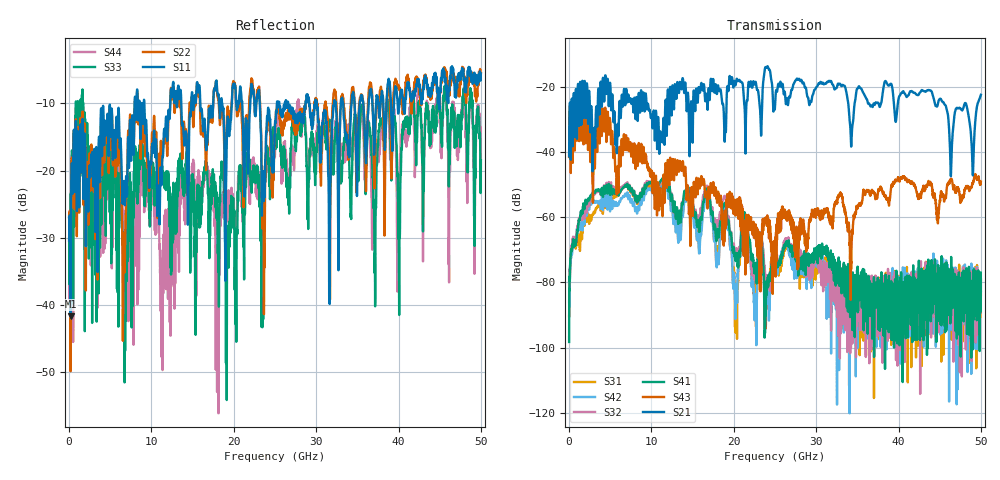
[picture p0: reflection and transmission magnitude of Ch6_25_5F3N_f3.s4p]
!Agilent Technologies,N5247A,US51170199,A.09.90.13
!Agilent N5247A: A.09.90.13
!Date: Wednesday, December 16, 2015 09:54:37
!Correction: S11(Full 4 Port(1,2,3,4))
!S12(Full 4 Port(1,2,3,4))
!S13(Full 4 Port(1,2,3,4))
!S14(Full 4 Port(1,2,3,4))
!S21(Full 4 Port(1,2,3,4))
!S22(Full 4 Port(1,2,3,4))
!S23(Full 4 Port(1,2,3,4))
!S24(Full 4 Port(1,2,3,4))
!S31(Full 4 Port(1,2,3,4))
!S32(Full 4 Port(1,2,3,4))
!S33(Full 4 Port(1,2,3,4))
!S34(Full 4 Port(1,2,3,4))
!S41(Full 4 Port(1,2,3,4))
!S42(Full 4 Port(1,2,3,4))
!S43(Full 4 Port(1,2,3,4))
!S44(Full 4 Port(1,2,3,4))
!S4P File: Measurements: <S11,S12,S13,S14>,
!<S21,S22,S23,S24>,
!<S31,S32,S33,S34>,
!<S41,S42,S43,S44>:
# Hz S  dB  R 50
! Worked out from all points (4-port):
!   3201 points, 10 MHz to 50 GHz, reference 50 ohm
!   strongest paths, dB at 10 MHz, 12.51 GHz, 25 GHz, 37.5 GHz, 50 GHz:
!     S21: -41.3, -21.4, -26.2, -24.8, -22.4
!     S43: -41.5, -44.4, -77.8, -52.6, -49.1
!     S41: -98.3, -53.2, -72.4, -87.8, -82.7
!     S32: -79.9, -53.4, -72.4, -82.2, -79.1
!     S42: -85.9, -55.3, -74.5, -90.1, -79.2
!     S31: -90.4, -54.0, -72.5, -80.3, -83.7
!   lowest |S11| = -41.7 dB at 181.8 MHz (marker M1), VSWR 1.02, Z = 50.3 - j0.786 ohm
!   |S11| at or under -10 dB: start of sweep to 7.958 GHz; 9.141 GHz to 12.29 GHz (3.145 GHz wide, 29.4 % of centre); 26.6 GHz to 28.71 GHz (2.114 GHz wide, 7.64 % of centre)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
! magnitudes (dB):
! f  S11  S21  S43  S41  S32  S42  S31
! 10 MHz  -30.4  -41.3  -41.5  -98.3  -79.9  -85.9  -90.4
! 181.8 MHz  -41.7  -30.6  -32.2  -72.4  -71.2  -74.3  -73.5
! 11.46 GHz  -16.2  -29.7  -47.4  -48.3  -48.5  -50.4  -49.4
! 23.1 GHz  -8.7  -24.4  -77.1  -69.4  -69.1  -70.0  -72.4
! 23.63 GHz  -23.1  -17.3  -61.9  -77.8  -71.7  -72.1  -77.0
! 49 GHz  -7.1  -46.4  -49.9  -79.4  -91.0  -86.2  -89.7
! 50 GHz  -5.6  -22.4  -49.1  -82.7  -79.1  -79.2  -83.7
